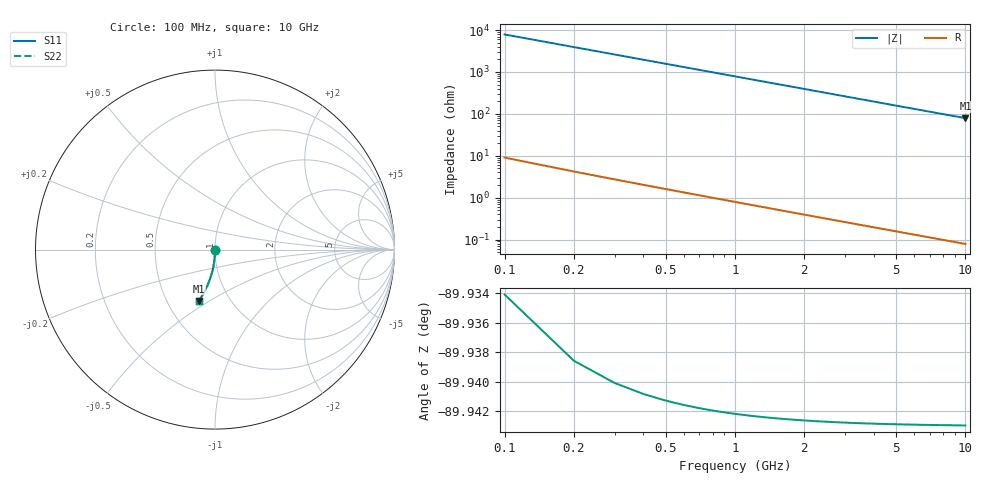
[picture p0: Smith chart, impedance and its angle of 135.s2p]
# Hz S RI R 50.00
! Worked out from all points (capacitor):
!   100 points, 100 MHz to 10 GHz, reference 50 ohm
!   read as one part in shunt: C = 203 fF near 100 MHz
!   lowest |Z| = 79 ohm at 10 GHz (marker M1)
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1e8  -8.95e-06 -0.00318  1 -0.0032  1 -0.0032  -8.95e-06 -0.00318
2e8  -4.26e-05 -0.00635  0.9999 -0.0064  0.9999 -0.0064  -4.26e-05 -0.00635
3e8  -9.66e-05 -0.00953  0.9999 -0.0096  0.9999 -0.0096  -9.66e-05 -0.00953
4e8  -0.000171 -0.0127  0.9998 -0.0128  0.9998 -0.0128  -0.000171 -0.0127
5e8  -0.000265 -0.0159  0.9997 -0.016  0.9997 -0.016  -0.000265 -0.0159
6e8  -0.00038 -0.019  0.9996 -0.0192  0.9996 -0.0192  -0.00038 -0.019
7e8  -0.000515 -0.0222  0.9995 -0.0224  0.9995 -0.0224  -0.000515 -0.0222
8e8  -0.000671 -0.0254  0.9993 -0.0256  0.9993 -0.0256  -0.000671 -0.0254
9e8  -0.000846 -0.0286  0.9991 -0.0288  0.9991 -0.0288  -0.000846 -0.0286
1.1e9  -0.00126 -0.0349  0.9987 -0.0352  0.9987 -0.0352  -0.00126 -0.0349
1.4e9  -0.00203 -0.0444  0.998 -0.0447  0.998 -0.0447  -0.00203 -0.0444
1.8e9  -0.00333 -0.0569  0.9967 -0.0574  0.9967 -0.0574  -0.00333 -0.0569
2.1e9  -0.00452 -0.0663  0.9955 -0.0669  0.9955 -0.0669  -0.00452 -0.0663
2.5e9  -0.00637 -0.0788  0.9936 -0.0794  0.9936 -0.0794  -0.00637 -0.0788
2.9e9  -0.00854 -0.0912  0.9914 -0.0919  0.9914 -0.0919  -0.00854 -0.0912
3.4e9  -0.0117 -0.1065  0.9883 -0.1074  0.9883 -0.1074  -0.0117 -0.1065
4.2e9  -0.0177 -0.1307  0.9823 -0.1318  0.9823 -0.1318  -0.0177 -0.1307
5.1e9  -0.0258 -0.1573  0.9742 -0.1586  0.9742 -0.1586  -0.0258 -0.1573
5.9e9  -0.0341 -0.1803  0.9659 -0.1818  0.9659 -0.1818  -0.0341 -0.1803
6.7e9  -0.0435 -0.2026  0.9565 -0.2043  0.9565 -0.2043  -0.0435 -0.2026
8.4e9  -0.0665 -0.2475  0.9335 -0.2497  0.9335 -0.2497  -0.0665 -0.2475
1e10  -0.0914 -0.2864  0.9086 -0.289  0.9086 -0.289  -0.0914 -0.2864
